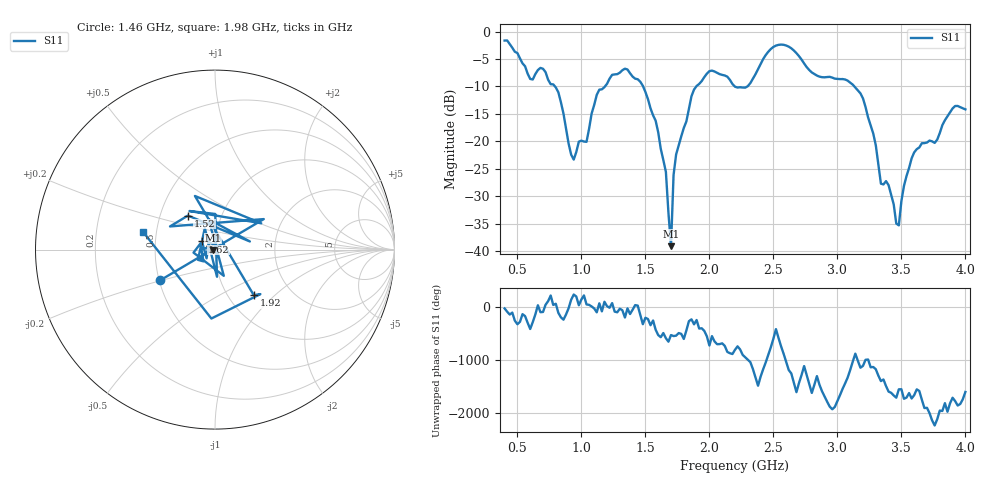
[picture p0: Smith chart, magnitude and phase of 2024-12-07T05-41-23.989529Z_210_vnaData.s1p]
!Created with skrf (http://scikit-rf.org).
# Hz S RI R 50.0
!freq ReS11 ImS11
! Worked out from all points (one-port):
!   181 points, 400 MHz to 4 GHz, reference 50 ohm
!   lowest |S11| = -39.1 dB at 1.7 GHz (marker M1), VSWR 1.02, Z = 48.9 - j0.154 ohm
!   |S11| at or under -10 dB: 793.6 MHz to 1.184 GHz (390.5 MHz wide, 39.5 % of centre); 1.482 GHz to 1.898 GHz (415.3 MHz wide, 24.6 % of centre); 3.132 GHz to end of sweep (the widest 3 of 4)
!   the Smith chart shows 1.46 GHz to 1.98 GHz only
!   S11 on the Smith chart (normalised r, x): 1.46 GHz: 0.51, -0.20; 1.52 GHz: 0.69, +0.28; 1.62 GHz: 0.86, +0.08; 1.92 GHz: 1.31, -0.75; 1.98 GHz: 0.42, +0.10
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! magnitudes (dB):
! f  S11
! 400 MHz  -1.6
! 600 MHz  -8.6
! 700 MHz  -6.8
! 860 MHz  -15.0
! 940 MHz  -23.3
! 1.04 GHz  -20.1
! 1.14 GHz  -10.6
! 1.3 GHz  -7.5
! 1.46 GHz  -9.1
! 1.52 GHz  -12.3
! 1.62 GHz  -21.4
! 1.66 GHz  -25.6
! 1.7 GHz  -39.1
! 1.72 GHz  -26.1
! 1.76 GHz  -20.7
! 1.92 GHz  -9.5
! 1.98 GHz  -7.7
! 2.2 GHz  -10.0
! 2.5 GHz  -2.8
! 2.66 GHz  -3.5
! 3.1 GHz  -9.3
! 3.2 GHz  -12.2
! 3.34 GHz  -27.7
! 3.4 GHz  -28.0
! 3.46 GHz  -35.0
! 3.56 GHz  -24.9
! 3.9 GHz  -14.0
! 4 GHz  -14.2
